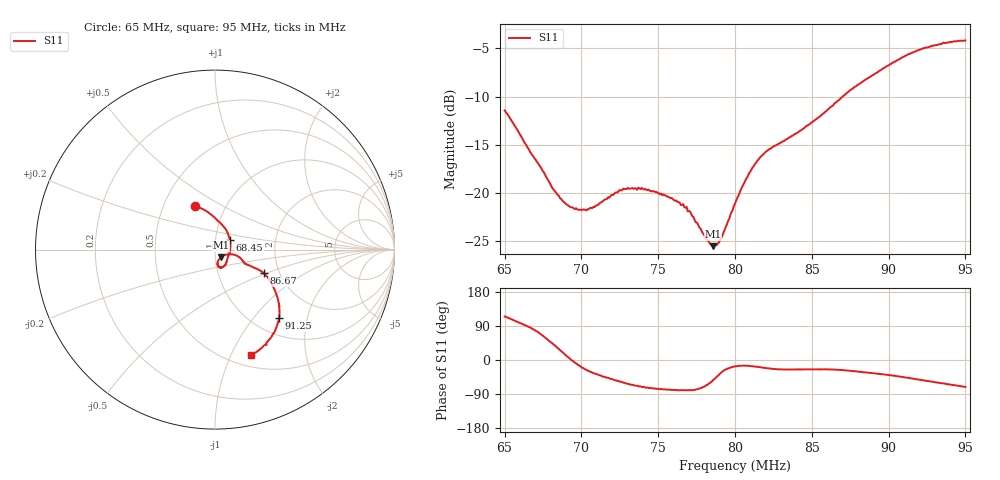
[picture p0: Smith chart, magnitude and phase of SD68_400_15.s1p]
! NanoVNA-App
! Date: 2025-08-02 16:20:28
! Start: 65MHz Stop: 95MHz Points: 401
! S-Parameter data: F S11
# Hz S RI R 50
!  Frequency  S11_Real  S11_Imag
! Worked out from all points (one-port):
!   401 points, 65 MHz to 95 MHz, reference 50 ohm
!   lowest |S11| = -25.5 dB at 78.58 MHz (marker M1), VSWR 1.11, Z = 53.1 - j4.51 ohm
!   |S11| at or under -10 dB: start of sweep to 87 MHz
!   S11 on the Smith chart (normalised r, x): 65 MHz: 0.72, +0.38; 68.45 MHz: 1.17, +0.12; 86.67 MHz: 1.65, -0.48; 91.25 MHz: 1.30, -1.37; 95 MHz: 0.63, -1.19
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6.5e7  -0.1123 0.244
6.6425e7  0.000106 0.1768
6.7625e7  0.0634 0.108
6.845e7  0.0833 0.0515
6.875e7  0.0857 0.0331
6.9425e7  0.0844 -0.0029
7.0325e7  0.0731 -0.0358
7.25e7  0.0568 -0.087
7.4075e7  0.0337 -0.0988
7.625e7  0.0156 -0.0889
7.7e7  0.015 -0.0795
7.82e7  0.0234 -0.0521
7.8575e7  0.0321 -0.0423
7.8875e7  0.0411 -0.0365
7.91e7  0.0488 -0.032
8e7  0.0846 -0.0253
8.0825e7  0.1174 -0.0328
8.1575e7  0.1433 -0.0482
8.225e7  0.1563 -0.0655
8.375e7  0.1798 -0.0846
8.54e7  0.2235 -0.1032
8.6675e7  0.2703 -0.1313
8.75e7  0.3006 -0.164
8.9675e7  0.3499 -0.275
9.125e7  0.3576 -0.3814
9.23e7  0.3325 -0.4569
9.3425e7  0.286 -0.5196
9.5e7  0.2001 -0.5848
